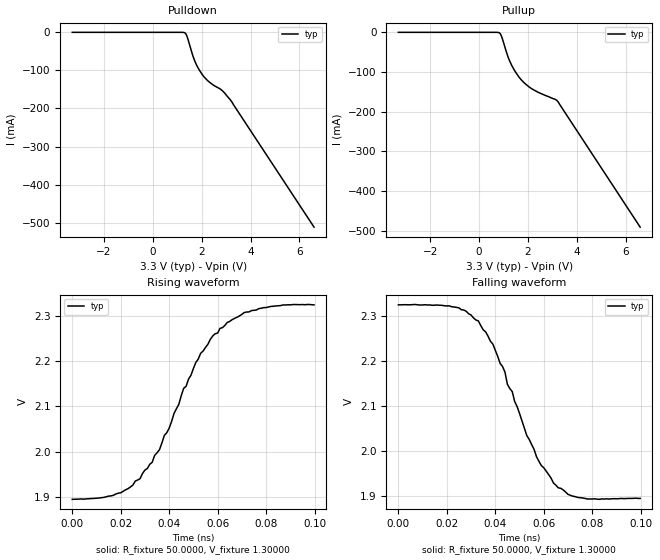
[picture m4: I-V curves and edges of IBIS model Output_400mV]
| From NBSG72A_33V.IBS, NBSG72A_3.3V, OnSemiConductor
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[Model] Output_400mV
Model_type Output_ECL
Vref=1.3000V
Rref=50.0000ohms
Cref=0.00000pF
Vmeas=2.10935V
C_comp 0.50000pF NA NA
| variable typ   min   max
[Voltage Range]   3.30000V  NA   NA
[POWER Clamp Reference] 3.30000V  NA   NA
[Pullup Reference]   3.30000V  NA   NA
[Pulldown Reference]   3.30000V  NA   NA
[GND Clamp Reference]   0.00000V  NA   NA
[Temperature Range] 25   NA   NA
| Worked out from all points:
|   falling waveform, R_fixture 50.0000, V_fixture 1.30000: 20-80 % time 18.8ps typ, NA min, NA max; typ from 2.33 V to 1.89 V
|   rising waveform, R_fixture 50.0000, V_fixture 1.30000: 20-80 % time 22.8ps typ, NA min, NA max; typ from 1.89 V to 2.33 V
[GND Clamp]
-7.2V     0A         NA         NA
-6.6V     0A         NA         NA
-6V       0A         NA         NA
0V        0A         NA         NA
3V        0A         NA         NA
3.3V      0A         NA         NA
3.6V      0A         NA         NA
[Pulldown]
-3.3V     11.25uA    NA         NA
1.18V     0A         NA         NA
1.338V    -2.795mA   NA         NA
1.419V    -14.31mA   NA         NA
1.621V    -58.07mA   NA         NA
1.702V    -72.93mA   NA         NA
1.818V    -89.41mA   NA         NA
2.02V     -110.8mA   NA         NA
2.338V    -132mA     NA         NA
2.859V    -154.2mA   NA         NA
3.219V    -181.3mA   NA         NA
6.6V      -511.8mA   NA         NA
[Pullup]
-3.3V     0A         NA         NA
700.7mV   0A         NA         NA
862.5mV   -2.806mA   NA         NA
938mV     -12.59mA   NA         NA
1.14V     -52.88mA   NA         NA
1.261V    -72.9mA    NA         NA
1.419V    -92.13mA   NA         NA
1.621V    -111.5mA   NA         NA
1.858V    -127.7mA   NA         NA
2.141V    -141.4mA   NA         NA
3.219V    -173.7mA   NA         NA
6.6V      -491.1mA   NA         NA
[POWER Clamp]
-6.9V     0A         NA         NA
-6.6V     0A         NA         NA
-6.3V     0A         NA         NA
-300mV    0A         NA         NA
0V        0A         NA         NA
300mV     0A         NA         NA
2.7V      0A         NA         NA
3.3V      0A         NA         NA
3.9V      0A         NA         NA
[Falling Waveform]
R_fixture = 50.0000
V_fixture = 1.30000
0s        2.325V     NA         NA
21ps      2.323V     NA         NA
33ps      2.289V     NA         NA
39ps      2.238V     NA         NA
44ps      2.175V     NA         NA
45ps      2.148V     NA         NA
57ps      1.987V     NA         NA
66ps      1.918V     NA         NA
78ps      1.893V     NA         NA
99.8ps    1.894V     NA         NA
[Rising Waveform]
R_fixture = 50.0000
V_fixture = 1.30000
0s        1.894V     NA         NA
17ps      1.903V     NA         NA
28ps      1.94V      NA         NA
36ps      2.004V     NA         NA
44ps      2.105V     NA         NA
46ps      2.14V      NA         NA
53ps      2.218V     NA         NA
64ps      2.286V     NA         NA
79ps      2.319V     NA         NA
99.8ps    2.325V     NA         NA
[Ramp]
| variable typ min max
dV/dt_r 256.501m/22.7882p NA NA
dV/dt_f 256.501m/19.2062p NA NA
R_load = 50.0000Ohms
